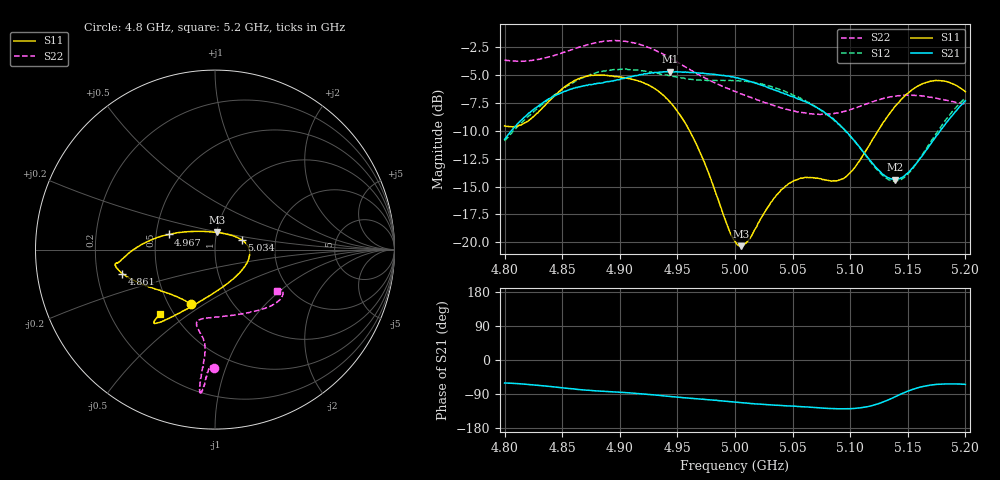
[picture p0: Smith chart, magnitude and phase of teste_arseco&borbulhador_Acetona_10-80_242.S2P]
! Network Analyzer HP8722D
! Hewlett-Packard
! Data name: Linha & Wilkinson
! Saver's name: Rodrigo Anjos
! Comments: Teste da utilização de aquisição
! continua pelo VNA HP8722D
! Time and date: 17/4/2025 16:22
!  Frequency  S11  S21  S12  S22
# HZ  S  MA R 50
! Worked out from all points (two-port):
!   401 points, 4.8 GHz to 5.2 GHz, reference 50 ohm
!   highest |S21| = -4.68 dB at 4.944 GHz (marker M1); lowest = -14.4 dB at 5.139 GHz (marker M2)
!   |S21| within 3 dB of the highest: 4.83 GHz to 5.067 GHz (236.6 MHz wide, 4.78 % of centre); 5.196418 GHz to end of sweep
!   lowest |S11| = -20.4 dB at 5.005 GHz (marker M3), VSWR 1.21, Z = 50.1 + j9.66 ohm
!   |S11| at or under -10 dB: 4.961 GHz to 5.124 GHz (163.5 MHz wide, 3.24 % of centre)
!   |S22| runs from -8.5 to -1.9 dB; largest |S21 - S12| = 0.88
!   S11 on the Smith chart (normalised r, x): 4.8 GHz: 0.65, -0.44; 4.861 GHz: 0.31, -0.12; 4.967 GHz: 0.58, +0.11; 5.034 GHz: 1.34, +0.15; 5.2 GHz: 0.42, -0.39
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4.8e9  0.333 -113.4  0.2897 -60.7  0.2846 -175.1  0.6576 -90.5
4.82e9  0.3484 -134.4  0.3748 -64.2  0.3653 -173.7  0.6512 -92.1
4.861e9  0.5329 -165.4  0.4921 -76.8  0.5258 -176.9  0.7393 -94.4
4.867e9  0.5485 -167.8  0.5006 -78.5  0.5443 -178.1  0.7567 -94.4
4.9e9  0.5522 -172.2  0.5372 -85.2  0.5971 175.5  0.8013 -96.0
4.934e9  0.4737 -178.2  0.5792 -93.5  0.5717 171.7  0.7126 -96.2
4.944e9  0.4234 177.4  0.5832 -96.3  0.5566 171.8  0.6713 -96.0
4.967e9  0.2717 161.9  0.5756 -102.3  0.5353 173.9  0.5699 -95.5
5e9  0.101 101.2  0.5487 -111.0  0.532 176.0  0.4747 -99.7
5.005e9  0.096 83.6  0.541 -112.3  0.5297 175.9  0.463 -100.9
5.013e9  0.104 57.7  0.5266 -114.6  0.5229 175.7  0.4473 -102.6
5.034e9  0.1582 20.4  0.4826 -119.1  0.4942 174.7  0.4098 -103.8
5.049e9  0.1861 5.0  0.4514 -121.5  0.4619 174.1  0.3909 -100.0
5.067e9  0.1951 -14.2  0.4129 -124.9  0.4149 173.6  0.3766 -90.2
5.096e9  0.1964 -64.9  0.3163 -128.7  0.3138 174.2  0.3877 -67.4
5.107e9  0.228 -86.0  0.2716 -126.9  0.2709 177.2  0.4051 -58.8
5.134e9  0.3768 -116.6  0.194 -104.0  0.1902 -156.8  0.4483 -42.8
5.139e9  0.4074 -119.5  0.191 -97.1  0.1882 -148.8  0.4525 -40.7
5.151e9  0.4706 -124.5  0.2068 -81.2  0.205 -130.4  0.4569 -36.4
5.17e9  0.5281 -128.9  0.2763 -66.1  0.2831 -112.3  0.4475 -32.1
5.184e9  0.5248 -130.2  0.3468 -63.0  0.3601 -107.4  0.4336 -31.2
5.2e9  0.4736 -130.6  0.4312 -64.5  0.4449 -106.6  0.4159 -33.6
